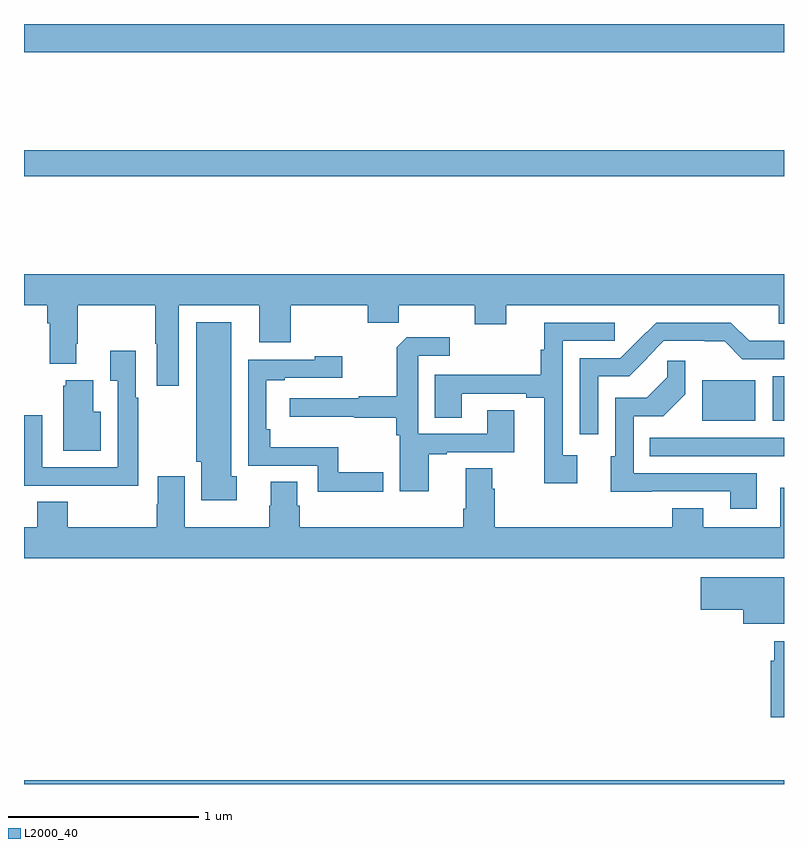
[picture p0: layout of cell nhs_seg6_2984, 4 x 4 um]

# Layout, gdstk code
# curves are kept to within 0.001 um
import gdstk
lib = gdstk.Library(unit=1e-6, precision=1e-09)
def R(c, l, rs):  # rectangles x0, y0, x1, y1
    for r in rs: c.add(gdstk.rectangle(r[:2], r[2:], *l))
def P(c, l, *ps):  # polygons
    for p in ps: c.add(gdstk.Polygon(p, *l))
L2000_40 = (2000, 40)

nhs_seg6_2984 = lib.new_cell('nhs_seg6_2984')
R(nhs_seg6_2984, L2000_40, [(287,927.5,291,927.52), (290.57,929.411,290.848,929.626), (290.942,929.411,291,929.647), (287,930.7,291,930.836), (287,931.352,291,931.5)])
P(nhs_seg6_2984, L2000_40, [(287.815,930.02),(288.239,930.02),(288.239,929.826),(288.403,929.826),(288.403,930.02),(288.809,930.02),(288.809,929.927),(288.973,929.927),(288.973,930.02),(289.373,930.02),(289.373,929.921),(289.537,929.921),(289.537,930.02),(290.972,930.02),(290.972,929.922),(291,929.922),(291,930.184),(287,930.184),(287,930.02),(287.123,930.02),(287.123,929.924),(287.135,929.924),(287.135,929.711),(287.275,929.711),(287.275,929.818),(287.283,929.818),(287.283,930.02),(287.692,930.02),(287.692,929.816),(287.699,929.816),(287.699,929.595),(287.815,929.595)],
  [(288.121,929.12),(288.091,929.12),(288.091,929.929),(287.906,929.929),(287.906,929.196),(287.933,929.196),(287.933,928.994),(288.121,928.994)],
  [(289.912,929.23),(289.836,929.23),(289.836,929.832),(290.109,929.832),(290.109,929.928),(289.739,929.928),(289.739,929.786),(289.72,929.786),(289.72,929.654),(289.163,929.654),(289.163,929.428),(289.303,929.428),(289.303,929.553),(289.643,929.553),(289.643,929.533),(289.739,929.533),(289.739,929.082),(289.912,929.082)],
  [(290.022,929.646),(290.185,929.646),(290.279,929.74),(290.277,929.742),(290.367,929.832),(290.687,929.831),(290.781,929.736),(291,929.736),(291,929.832),(290.92,929.832),(290.92,929.834),(290.816,929.834),(290.721,929.928),(290.327,929.928),(290.139,929.742),(289.926,929.742),(289.926,929.34),(290.022,929.34)],
  [(289.129,929.235),(289.225,929.235),(289.225,929.247),(289.579,929.247),(289.579,929.468),(289.439,929.468),(289.439,929.343),(289.074,929.343),(289.074,929.754),(289.24,929.754),(289.24,929.851),(289.015,929.851),(288.963,929.799),(288.963,929.542),(288.763,929.542),(288.763,929.529),(288.399,929.529),(288.399,929.432),(288.739,929.432),(288.739,929.428),(288.958,929.428),(288.958,929.336),(288.978,929.336),(288.978,929.04),(289.129,929.04)],
  [(287.602,929.534),(287.589,929.534),(287.589,929.779),(287.453,929.779),(287.453,929.623),(287.493,929.623),(287.493,929.166),(287.097,929.166),(287.097,929.44),(287.001,929.44),(287.001,929.07),(287.317,929.07),(287.317,929.069),(287.602,929.069)],
  [(288.892,929.141),(288.655,929.141),(288.655,929.272),(288.296,929.272),(288.296,929.368),(288.276,929.368),(288.276,929.625),(288.373,929.625),(288.373,929.637),(288.676,929.637),(288.676,929.752),(288.531,929.752),(288.531,929.733),(288.18,929.733),(288.18,929.175),(288.546,929.175),(288.546,929.039),(288.892,929.039)],
  [(290.857,929.136),(290.208,929.136),(290.208,929.436),(290.365,929.436),(290.481,929.552),(290.481,929.728),(290.386,929.728),(290.386,929.64),(290.278,929.532),(290.112,929.532),(290.112,929.226),(290.087,929.226),(290.087,929.039),(290.717,929.04),(290.717,928.95),(290.857,928.95)],
  [(287.404,929.458),(287.365,929.458),(287.365,929.626),(287.219,929.626),(287.219,929.595),(287.207,929.595),(287.207,929.255),(287.404,929.255)],
  [(291,929.322),(290.293,929.322),(290.293,929.226),(290.953,929.226),(290.953,929.225),(291,929.225)],
  [(291,929.059),(290.981,929.059),(290.981,928.852),(290.575,928.852),(290.575,928.951),(290.411,928.951),(290.411,928.852),(289.478,928.852),(289.478,929.054),(289.465,929.054),(289.465,929.162),(289.325,929.162),(289.325,928.948),(289.313,928.948),(289.313,928.852),(288.452,928.852),(288.452,928.965),(288.439,928.965),(288.439,929.09),(288.299,929.09),(288.299,928.965),(288.292,928.965),(288.292,928.852),(287.845,928.852),(287.845,929.119),(287.705,929.119),(287.705,928.973),(287.698,928.973),(287.698,928.852),(287.229,928.852),(287.229,928.985),(287.069,928.985),(287.069,928.852),(287,928.852),(287,928.688),(291,928.688)],
  [(291,928.588),(290.562,928.588),(290.562,928.418),(290.786,928.418),(290.786,928.343),(291,928.343)],
  [(291,928.252),(290.949,928.252),(290.949,928.148),(290.929,928.148),(290.929,927.852),(291,927.852)])

lib.write_gds('nhs_seg6_2984.gds')
